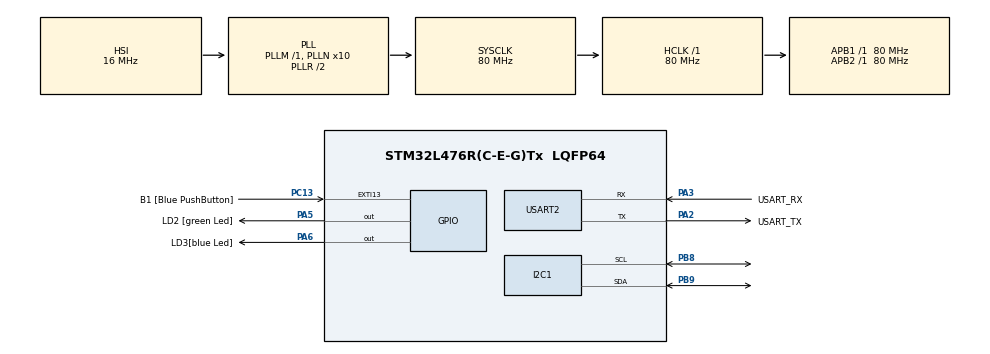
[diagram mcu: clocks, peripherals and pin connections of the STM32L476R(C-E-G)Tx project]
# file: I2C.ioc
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I2C1.Timing=0x10909CEC
Mcu.Family=STM32L4
Mcu.Name=STM32L476R(C-E-G)Tx
Mcu.Package=LQFP64
NVIC.PriorityGroup=NVIC_PRIORITYGROUP_4
NVIC.TIM6_DAC_IRQn=true\:0\:0\:false\:false\:true\:true\:true\:true
PA13\ (JTMS-SWDIO).GPIO_Label=TMS
PA13\ (JTMS-SWDIO).Mode=Serial_Wire
PA13\ (JTMS-SWDIO).Signal=SYS_JTMS-SWDIO
PA14\ (JTCK-SWCLK).GPIO_Label=TCK
PA14\ (JTCK-SWCLK).Mode=Serial_Wire
PA14\ (JTCK-SWCLK).Signal=SYS_JTCK-SWCLK
PA2.GPIO_Label=USART_TX
PA2.GPIO_Mode=GPIO_MODE_AF_PP
PA2.GPIO_PuPd=GPIO_NOPULL
PA2.GPIO_Speed=GPIO_SPEED_FREQ_VERY_HIGH
PA2.Mode=Asynchronous
PA2.Signal=USART2_TX
PA3.GPIO_Label=USART_RX
PA3.GPIO_Mode=GPIO_MODE_AF_PP
PA3.GPIO_PuPd=GPIO_NOPULL
PA3.GPIO_Speed=GPIO_SPEED_FREQ_VERY_HIGH
PA3.Mode=Asynchronous
PA3.Signal=USART2_RX
PA5.GPIO_Label=LD2 [green Led]
PA5.GPIO_ModeDefaultOutputPP=GPIO_MODE_OUTPUT_PP
PA5.GPIO_PuPd=GPIO_NOPULL
PA5.GPIO_Speed=GPIO_SPEED_FREQ_LOW
PA5.Signal=GPIO_Output
PA6.GPIO_Label=LD3[blue Led]
PA6.Signal=GPIO_Output
PB3\ (JTDO-TRACESWO).GPIO_Label=SWO
PB3\ (JTDO-TRACESWO).Signal=SYS_JTDO-SWO
PB8.Mode=I2C
PB8.Signal=I2C1_SCL
PB9.Mode=I2C
PB9.Signal=I2C1_SDA
PC13.GPIO_Label=B1 [Blue PushButton]
PC13.GPIO_ModeDefaultEXTI=GPIO_MODE_IT_FALLING
PC13.GPIO_PuPd=GPIO_NOPULL
PC13.Signal=GPXTI13
PC14-OSC32_IN\ (PC14).Mode=LSE-External-Oscillator
PC14-OSC32_IN\ (PC14).Signal=RCC_OSC32_IN
PC15-OSC32_OUT\ (PC15).Mode=LSE-External-Oscillator
PC15-OSC32_OUT\ (PC15).Signal=RCC_OSC32_OUT
PH0-OSC_IN\ (PH0).Signal=RCC_OSC_IN
PH1-OSC_OUT\ (PH1).Signal=RCC_OSC_OUT
ProjectManager.HeapSize=0x200
ProjectManager.StackSize=0x400
ProjectManager.TargetToolchain=STM32CubeIDE
RCC.ADCFreq_Value=64000000
RCC.AHBFreq_Value=80000000
RCC.APB1Freq_Value=80000000
RCC.APB1TimFreq_Value=80000000
RCC.APB2Freq_Value=80000000
RCC.APB2TimFreq_Value=80000000
RCC.CortexFreq_Value=80000000
RCC.HCLKFreq_Value=80000000
RCC.HSE_VALUE=8000000
RCC.HSI_VALUE=16000000
RCC.MSI_VALUE=4000000
RCC.PLLN=10
RCC.PLLSourceVirtual=RCC_PLLSOURCE_HSI
RCC.PREFETCH_ENABLE=1
RCC.SYSCLKFreq_VALUE=80000000
RCC.SYSCLKSource=RCC_SYSCLKSOURCE_PLLCLK
RCC.USBFreq_Value=64000000
RCC.VCOOutputFreq_Value=160000000
TIM6.Period=9999
TIM6.Prescaler=80
USART2.VirtualMode-Asynchronous=VM_ASYNC
VP_TIM6_VS_ClockSourceINT.Mode=Enable_Timer
board=NUCLEO-L476RG

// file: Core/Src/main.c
/* USER CODE BEGIN Header */
/**
  ******************************************************************************
  * @file           : main.c
  * @brief          : Main program body
  ******************************************************************************
  * @attention
  *
  * Copyright (c) 2022 STMicroelectronics.
  * All rights reserved.
  *
  * This software is licensed under terms that can be found in the LICENSE file
  * in the root directory of this software component.
  * If no LICENSE file comes with this software, it is provided AS-IS.
  *
  ******************************************************************************
  */
/* USER CODE END Header */
#include "main.h"

/* USER CODE BEGIN Includes */
#include <string.h>
#include <stdio.h>
/* USER CODE END Includes */

 I2C_HandleTypeDef hi2c1;

TIM_HandleTypeDef htim6;

UART_HandleTypeDef huart2;

void SystemClock_Config(void);
static void MX_GPIO_Init(void);
static void MX_USART2_UART_Init(void);
static void MX_I2C1_Init(void);
static void MX_TIM6_Init(void);

/* USER CODE BEGIN 0 */
int _write(int fd, char* ptr, int len)
{
	HAL_UART_Transmit(&huart2, (uint8_t*)ptr, len, HAL_MAX_DELAY);
	return len;
}

typedef struct DateDime_
{
	int second1;
	int second10;
	int minute1;
	int minutes10;
	int hour1;
	int hours10;
	int weekDay;
	int day1;
	int days10;
	int month1;
	int months10;
	int year1;
	int years10;
}DateTime;

DateTime T;

uint8_t writeBuff[7]; /*= {0,18,35,5,3,17,34};*/
uint8_t readBuff[7];
int userWrite[7];

void printTime(uint8_t* readBuff)
{
	T.second1 = readBuff[0]&15; // take only the first 4 bits
	T.second10 = readBuff[0]>>4; // move the last 4 bits to the right
	T.minute1 = readBuff[1]&15;
	T.minutes10 = readBuff[1]>>4;
	T.hour1 = readBuff[2]&15;
	T.hours10 = readBuff[2]>>4&3; // move the last 4 bits to the right, and take the 2 first bits
	T.weekDay = readBuff[3]&7; // take only the first 3 bits
	T.day1 = readBuff[4]&15;
	T.days10 = readBuff[4]>>4&3;
	T.month1 = readBuff[5]&15;
	T.months10 = readBuff[5]>>4&1;
	T.year1 = readBuff[6]&15;
	T.years10 = readBuff[6]>>4;

	printf("%d%d/%d%d/20%d%d : DAY-%d : %d%d:%d%d:%d%d\r\n",T.days10,T.day1,T.months10,T.month1,T.years10,T.year1,T.weekDay,T.hours10,T.hour1,T.minutes10,T.minute1,T.second10,T.second1);
}

void HAL_TIM_PeriodElapsedCallback(TIM_HandleTypeDef * htim)
{
	HAL_I2C_Mem_Read(&hi2c1, 0xD0, 0, 1, readBuff, 7, 0Xff);
	printTime(readBuff);
}

//
void decToBin(int* userWrite)
{
	for(int i=0; i<7; i++){
		int right = userWrite[i] % 10;
		int left = userWrite[i] / 10;
		writeBuff[i] = (left<<4 | right); // save the tens digit in the last 4 bits and the unity digit in the first 4 bits
	}
}

uint8_t writeLedOn[1] = {1};
uint8_t writeLedOff[1] = {0};
uint8_t readLed[1];
void ledWork()
{
	HAL_I2C_Mem_Read(&hi2c1, 0xD0, 0x10, 1, readLed, 1, 0Xff);
	HAL_GPIO_WritePin(LD2_GPIO_Port, LD2_Pin, readLed[0]);

	HAL_I2C_Mem_Read(&hi2c1, 0xD0, 0x18, 1, readLed, 1, 0Xff);
	HAL_GPIO_WritePin(LD3_GPIO_Port, LD3_Pin, readLed[0]);
}

/////////////////////////////////////////////////////////////////////////
// Communication task definitions and functions
/////////////////////////////////////////////////////////////////////////

#define MAX_BUFFER_LENGTH 100

uint8_t cmdbuffer[MAX_BUFFER_LENGTH];
int cmdcount = 0;
int cmdprint = 0;

int Communication_commTask()
{
	uint8_t ch;

	HAL_StatusTypeDef Status = HAL_UART_Receive(&huart2, &ch, 1, 10);
	if (Status != HAL_OK)
	{
		if ((huart2.Instance->ISR & USART_ISR_ORE) != 0)
		{
			__HAL_UART_CLEAR_OREFLAG(&huart2);
		}

		// here we have a time to print the command
		while (cmdprint < cmdcount)
		{
			HAL_UART_Transmit(&huart2, &cmdbuffer[cmdprint++], 1, 0xFFFF);
		}

		return 0;
	}

	if (ch != '\r' && ch != '\n')
	{
		//HAL_UART_Transmit(&huart2, &ch, 1, 0xFFFF);

		if (cmdcount >= MAX_BUFFER_LENGTH)
		{
			cmdcount = 0;
			cmdprint = 0;
		}

		cmdbuffer[cmdcount++] = ch;
		return 0;
	}

	// here we have a time to print the command
	while (cmdprint < cmdcount)
	{
		HAL_UART_Transmit(&huart2, &cmdbuffer[cmdprint++], 1, 0xFFFF);
	}

	HAL_UART_Transmit(&huart2, (uint8_t*)"\r\n", 2, 0xFFFF);

	cmdbuffer[cmdcount] = 0;
	cmdcount = 0;
	cmdprint = 0;
	return 1;
}

void Communication_handleCommand()
{
  char cmd[25];

  int params = sscanf((const char*)cmdbuffer, "%s %d:%d:%d:%d:%d:%d:%d", cmd,&userWrite[3],&userWrite[4],&userWrite[5],&userWrite[6],&userWrite[2],&userWrite[1],&userWrite[0]);

  if (params == 0)
  {
	  return;
  }

  if (strcmp(cmd, "set") == 0)
  {
	  decToBin(userWrite);
	  __HAL_TIM_SET_COUNTER(&htim6, 0);
	  HAL_TIM_Base_Start_IT(&htim6);
	  HAL_I2C_Mem_Write(&hi2c1, 0xD0, 0, 1, writeBuff, 7, 0Xff);
  }
  else if(strcmp(cmd, "ledOn") == 0){
	  HAL_I2C_Mem_Write(&hi2c1, 0xD0, 0x10, 1, writeLedOn, 1, 0Xff);
	  HAL_I2C_Mem_Write(&hi2c1, 0xD0, 0x18, 1, writeLedOn, 1, 0Xff);
	  ledWork();
  }
  else if(strcmp(cmd, "ledOff") == 0){
	  HAL_I2C_Mem_Write(&hi2c1, 0xD0, 0x10, 1, writeLedOff, 1, 0Xff);
	  HAL_I2C_Mem_Write(&hi2c1, 0xD0, 0x18, 1, writeLedOff, 1, 0Xff);
	  ledWork();
  }
  else
  {
	  printf("Invalid command\r\n");
  }
}
/* USER CODE END 0 */

int main(void)
{

  /* MCU Configuration--------------------------------------------------------*/

  /* Reset of all peripherals, Initializes the Flash interface and the Systick. */
  HAL_Init();

  /* Configure the system clock */
  SystemClock_Config();

  /* Initialize all configured peripherals */
  MX_GPIO_Init();
  MX_USART2_UART_Init();
  MX_I2C1_Init();
  MX_TIM6_Init();
  /* USER CODE BEGIN 2 */
//  printf("Enter WeekDay, Day, Month, Year, Hour, Minutes, Seconds\r\n");
  ledWork();
  /* USER CODE END 2 */

  /* Infinite loop */
  while (1)
  {

    /* USER CODE BEGIN 3 */
	if (Communication_commTask()){
	    Communication_handleCommand();
	  }
  }
  /* USER CODE END 3 */
}

void SystemClock_Config(void)
{
  RCC_OscInitTypeDef RCC_OscInitStruct = {0};
  RCC_ClkInitTypeDef RCC_ClkInitStruct = {0};

  /** Configure the main internal regulator output voltage
  */
  if (HAL_PWREx_ControlVoltageScaling(PWR_REGULATOR_VOLTAGE_SCALE1) != HAL_OK)
  {
    Error_Handler();
  }

  /** Initializes the RCC Oscillators according to the specified parameters
  * in the RCC_OscInitTypeDef structure.
  */
  RCC_OscInitStruct.OscillatorType = RCC_OSCILLATORTYPE_HSI;
  RCC_OscInitStruct.HSIState = RCC_HSI_ON;
  RCC_OscInitStruct.HSICalibrationValue = RCC_HSICALIBRATION_DEFAULT;
  RCC_OscInitStruct.PLL.PLLState = RCC_PLL_ON;
  RCC_OscInitStruct.PLL.PLLSource = RCC_PLLSOURCE_HSI;
  RCC_OscInitStruct.PLL.PLLM = 1;
  RCC_OscInitStruct.PLL.PLLN = 10;
  RCC_OscInitStruct.PLL.PLLP = RCC_PLLP_DIV7;
  RCC_OscInitStruct.PLL.PLLQ = RCC_PLLQ_DIV2;
  RCC_OscInitStruct.PLL.PLLR = RCC_PLLR_DIV2;
  if (HAL_RCC_OscConfig(&RCC_OscInitStruct) != HAL_OK)
  {
    Error_Handler();
  }

  /** Initializes the CPU, AHB and APB buses clocks
  */
  RCC_ClkInitStruct.ClockType = RCC_CLOCKTYPE_HCLK|RCC_CLOCKTYPE_SYSCLK
                              |RCC_CLOCKTYPE_PCLK1|RCC_CLOCKTYPE_PCLK2;
  RCC_ClkInitStruct.SYSCLKSource = RCC_SYSCLKSOURCE_PLLCLK;
  RCC_ClkInitStruct.AHBCLKDivider = RCC_SYSCLK_DIV1;
  RCC_ClkInitStruct.APB1CLKDivider = RCC_HCLK_DIV1;
  RCC_ClkInitStruct.APB2CLKDivider = RCC_HCLK_DIV1;

  if (HAL_RCC_ClockConfig(&RCC_ClkInitStruct, FLASH_LATENCY_4) != HAL_OK)
  {
    Error_Handler();
  }
}

static void MX_I2C1_Init(void)
{

  hi2c1.Instance = I2C1;
  hi2c1.Init.Timing = 0x10909CEC;
  hi2c1.Init.OwnAddress1 = 0;
  hi2c1.Init.AddressingMode = I2C_ADDRESSINGMODE_7BIT;
  hi2c1.Init.DualAddressMode = I2C_DUALADDRESS_DISABLE;
  hi2c1.Init.OwnAddress2 = 0;
  hi2c1.Init.OwnAddress2Masks = I2C_OA2_NOMASK;
  hi2c1.Init.GeneralCallMode = I2C_GENERALCALL_DISABLE;
  hi2c1.Init.NoStretchMode = I2C_NOSTRETCH_DISABLE;
  if (HAL_I2C_Init(&hi2c1) != HAL_OK)
  {
    Error_Handler();
  }

  /** Configure Analogue filter
  */
  if (HAL_I2CEx_ConfigAnalogFilter(&hi2c1, I2C_ANALOGFILTER_ENABLE) != HAL_OK)
  {
    Error_Handler();
  }

  /** Configure Digital filter
  */
  if (HAL_I2CEx_ConfigDigitalFilter(&hi2c1, 0) != HAL_OK)
  {
    Error_Handler();
  }

}

static void MX_TIM6_Init(void)
{

  TIM_MasterConfigTypeDef sMasterConfig = {0};

  htim6.Instance = TIM6;
  htim6.Init.Prescaler = 80;
  htim6.Init.CounterMode = TIM_COUNTERMODE_UP;
  htim6.Init.Period = 9999;
  htim6.Init.AutoReloadPreload = TIM_AUTORELOAD_PRELOAD_DISABLE;
  if (HAL_TIM_Base_Init(&htim6) != HAL_OK)
  {
    Error_Handler();
  }
  sMasterConfig.MasterOutputTrigger = TIM_TRGO_RESET;
  sMasterConfig.MasterSlaveMode = TIM_MASTERSLAVEMODE_DISABLE;
  if (HAL_TIMEx_MasterConfigSynchronization(&htim6, &sMasterConfig) != HAL_OK)
  {
    Error_Handler();
  }

}

static void MX_USART2_UART_Init(void)
{

  huart2.Instance = USART2;
  huart2.Init.BaudRate = 115200;
  huart2.Init.WordLength = UART_WORDLENGTH_8B;
  huart2.Init.StopBits = UART_STOPBITS_1;
  huart2.Init.Parity = UART_PARITY_NONE;
  huart2.Init.Mode = UART_MODE_TX_RX;
  huart2.Init.HwFlowCtl = UART_HWCONTROL_NONE;
  huart2.Init.OverSampling = UART_OVERSAMPLING_16;
  huart2.Init.OneBitSampling = UART_ONE_BIT_SAMPLE_DISABLE;
  huart2.AdvancedInit.AdvFeatureInit = UART_ADVFEATURE_NO_INIT;
  if (HAL_UART_Init(&huart2) != HAL_OK)
  {
    Error_Handler();
  }

}

static void MX_GPIO_Init(void)
{
  GPIO_InitTypeDef GPIO_InitStruct = {0};

  /* GPIO Ports Clock Enable */
  __HAL_RCC_GPIOC_CLK_ENABLE();
  __HAL_RCC_GPIOH_CLK_ENABLE();
  __HAL_RCC_GPIOA_CLK_ENABLE();
  __HAL_RCC_GPIOB_CLK_ENABLE();

  /*Configure GPIO pin Output Level */
  HAL_GPIO_WritePin(GPIOA, LD2_Pin|LD3_Pin, GPIO_PIN_RESET);

  /*Configure GPIO pin : B1_Pin */
  GPIO_InitStruct.Pin = B1_Pin;
  GPIO_InitStruct.Mode = GPIO_MODE_IT_FALLING;
  GPIO_InitStruct.Pull = GPIO_NOPULL;
  HAL_GPIO_Init(B1_GPIO_Port, &GPIO_InitStruct);

  /*Configure GPIO pins : LD2_Pin LD3_Pin */
  GPIO_InitStruct.Pin = LD2_Pin|LD3_Pin;
  GPIO_InitStruct.Mode = GPIO_MODE_OUTPUT_PP;
  GPIO_InitStruct.Pull = GPIO_NOPULL;
  GPIO_InitStruct.Speed = GPIO_SPEED_FREQ_LOW;
  HAL_GPIO_Init(GPIOA, &GPIO_InitStruct);

}

void Error_Handler(void)
{
  __disable_irq();
  while (1)
  {
  }
}
